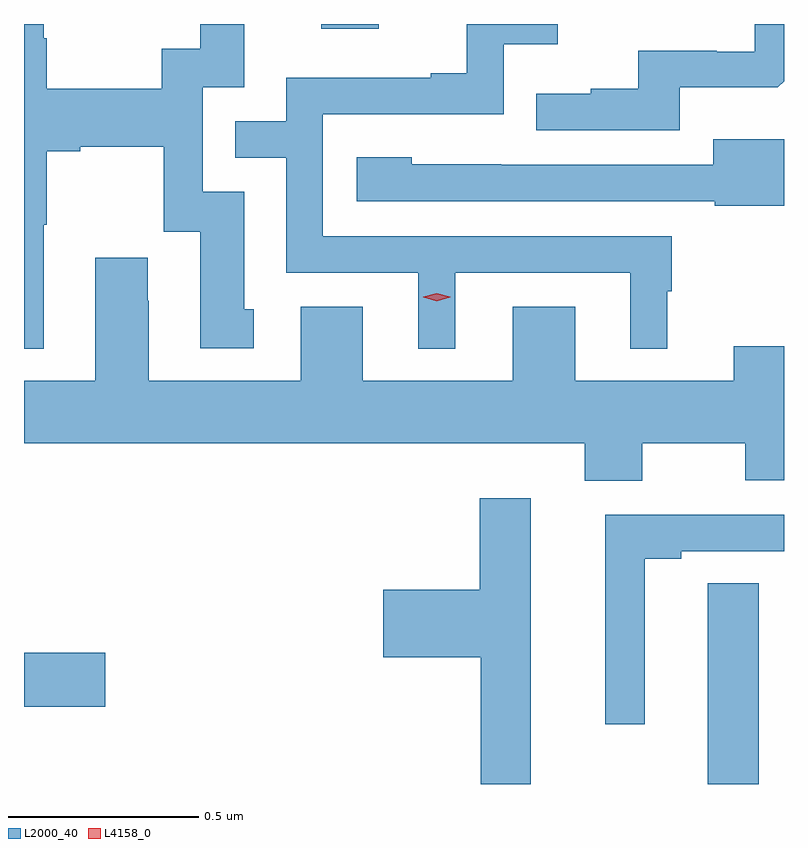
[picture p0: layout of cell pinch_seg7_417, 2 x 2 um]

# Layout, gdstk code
import gdstk
lib = gdstk.Library(unit=1e-6, precision=1e-09)
def R(c, l, rs):  # rectangles x0, y0, x1, y1
    for r in rs: c.add(gdstk.rectangle(r[:2], r[2:], *l))
def P(c, l, *ps):  # polygons
    for p in ps: c.add(gdstk.Polygon(p, *l))
L2000_40 = (2000, 40)
L4158_0 = (4158, 0)

pinch_seg7_417 = lib.new_cell('pinch_seg7_417')
R(pinch_seg7_417, L2000_40, [(623.306,1033.019,623.44,1033.547), (621.507,1033.222,621.721,1033.364), (622.289,1035.006,622.441,1035.019)])
P(pinch_seg7_417, L2000_40, [(621.559,1034.491),(621.567,1034.491),(621.567,1034.684),(621.655,1034.684),(621.655,1034.696),(621.875,1034.696),(621.875,1034.472),(621.971,1034.472),(621.971,1034.166),(622.111,1034.166),(622.111,1034.268),(622.087,1034.268),(622.087,1034.577),(621.978,1034.577),(621.978,1034.853),(622.087,1034.853),(622.087,1035.019),(621.971,1035.019),(621.971,1034.954),(621.87,1034.954),(621.87,1034.848),(621.567,1034.848),(621.567,1034.982),(621.559,1034.982),(621.559,1035.019),(621.507,1035.019),(621.507,1034.165),(621.559,1034.165)],
  [(622.642,1034.364),(623.102,1034.364),(623.102,1034.165),(623.2,1034.165),(623.2,1034.316),(623.212,1034.316),(623.212,1034.46),(622.293,1034.46),(622.293,1034.781),(622.77,1034.781),(622.77,1034.966),(622.912,1034.966),(622.912,1035.019),(622.672,1035.019),(622.672,1034.89),(622.577,1034.89),(622.577,1034.877),(622.197,1034.877),(622.197,1034.763),(622.063,1034.763),(622.063,1034.667),(622.197,1034.667),(622.197,1034.364),(622.544,1034.364),(622.544,1034.165),(622.642,1034.165)],
  [(623.233,1034.852),(623.491,1034.852),(623.507,1034.868),(623.507,1035.019),(623.43,1035.019),(623.43,1034.946),(623.33,1034.946),(623.33,1034.949),(623.123,1034.949),(623.123,1034.848),(622.999,1034.848),(622.999,1034.836),(622.855,1034.836),(622.855,1034.739),(623.233,1034.739)],
  [(623.507,1034.716),(623.321,1034.716),(623.321,1034.649),(622.763,1034.649),(622.763,1034.65),(622.527,1034.65),(622.527,1034.668),(622.383,1034.668),(622.383,1034.553),(623.325,1034.553),(623.325,1034.541),(623.507,1034.541)],
  [(623.134,1033.916),(623.405,1033.916),(623.405,1033.818),(623.507,1033.818),(623.507,1034.171),(623.375,1034.171),(623.375,1034.08),(622.957,1034.08),(622.957,1034.275),(622.793,1034.275),(622.793,1034.08),(622.399,1034.08),(622.399,1034.275),(622.235,1034.275),(622.235,1034.08),(621.835,1034.08),(621.835,1034.291),(621.832,1034.291),(621.832,1034.404),(621.695,1034.404),(621.695,1034.08),(621.507,1034.08),(621.507,1033.916),(622.982,1033.916),(622.982,1033.817),(623.134,1033.817)],
  [(622.84,1033.771),(622.706,1033.771),(622.706,1033.53),(622.452,1033.53),(622.452,1033.352),(622.709,1033.352),(622.709,1033.019),(622.84,1033.019)],
  [(623.14,1033.612),(623.236,1033.612),(623.236,1033.632),(623.507,1033.632),(623.507,1033.728),(623.036,1033.728),(623.036,1033.176),(623.14,1033.176)])
P(pinch_seg7_417, L4158_0, [(622.593,1034.29),(622.557,1034.3),(622.557,1034.3),(622.557,1034.301),(622.593,1034.31),(622.629,1034.301),(622.629,1034.3),(622.629,1034.3)])

lib.write_gds('pinch_seg7_417.gds')
